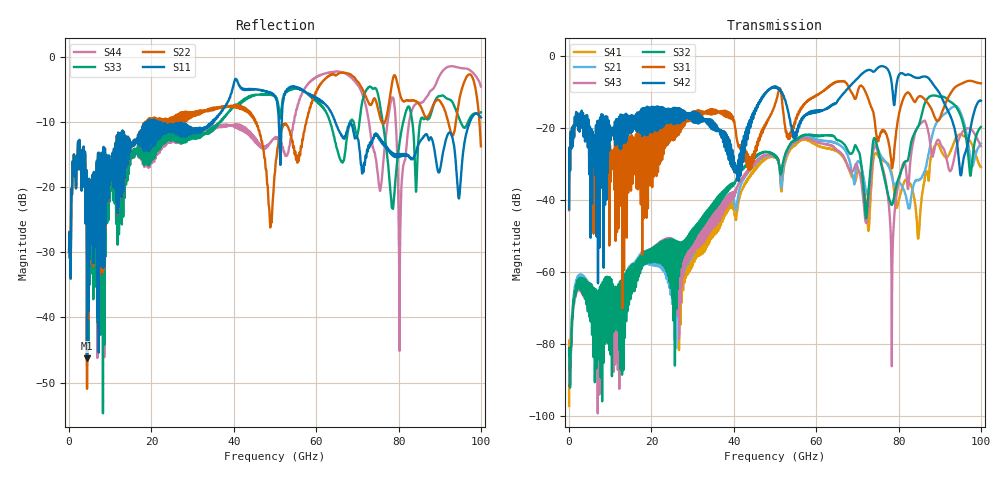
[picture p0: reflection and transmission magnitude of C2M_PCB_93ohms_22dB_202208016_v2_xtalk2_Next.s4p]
! Info: Touchstone file created by Circ.  Input file=Intel_C2M_200G_8p5in_202208016_staggered.circ
# Hz S RI R 50
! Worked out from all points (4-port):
!   10000 points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, 10 MHz to 100 GHz, reference 50 ohm
!   strongest paths, dB at 10 MHz, 25.01 GHz, 50.01 GHz, 75.01 GHz, 100 GHz:
!     S42: -42.6, -16.9, -8.6, -3.4, -12.5
!     S31: -42.9, -20.9, -13.5, -23.6, -7.7
!     S32: -81.3, -62.0, -27.8, -26.1, -19.8
!     S43: -89.2, -57.3, -28.0, -26.8, -25.1
!     S21: -82.5, -66.9, -27.9, -26.0, -24.4
!     S41: -97.2, -58.7, -28.2, -27.8, -30.9
!   lowest |S11| = -46.3 dB at 4.37 GHz (marker M1), VSWR 1.01, Z = 49.7 - j0.378 ohm
!   |S11| at or under -10 dB: start of sweep to 19.14 GHz; 22.24 GHz to 34.56 GHz (12.32 GHz wide, 43.4 % of centre); 64.6 GHz to 97.32 GHz (32.71 GHz wide, 40.4 % of centre)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
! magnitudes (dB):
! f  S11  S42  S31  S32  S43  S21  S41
! 10 MHz  -29.8  -42.6  -42.9  -81.3  -89.2  -82.5  -97.2
! 4.37 GHz  -46.3  -16.6  -18.0  -62.7  -65.3  -62.4  -64.5
! 56.45 GHz  -5.0  -17.6  -14.4  -22.3  -23.0  -22.3  -23.3
! 74.54 GHz  -11.8  -3.9  -21.2  -23.9  -25.3  -24.7  -27.0
! 78.42 GHz  -14.8  -8.4  -31.2  -41.4  -67.2  -33.8  -33.0
! 85 GHz  -13.2  -6.2  -11.3  -19.0  -19.3  -34.6  -48.7
! 100 GHz  -9.3  -12.5  -7.7  -19.8  -25.1  -24.4  -30.9
